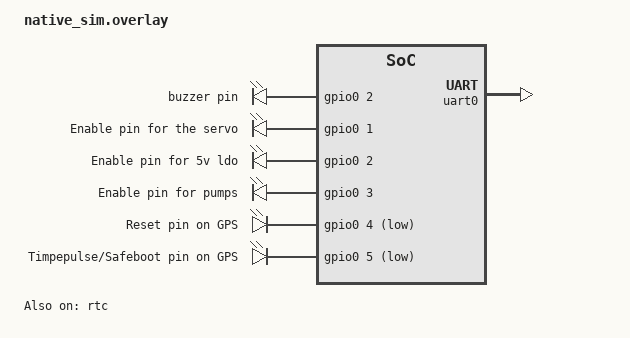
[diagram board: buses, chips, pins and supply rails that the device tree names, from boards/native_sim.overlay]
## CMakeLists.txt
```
cmake_minimum_required(VERSION 3.20.0)

find_package(Zephyr REQUIRED HINTS $ENV{ZEPHYR_BASE})
project(sample_logging LANGUAGES C CXX)

FILE(GLOB app_sources src/*.cpp src/*.c)

target_compile_options(app PRIVATE -Wall -Werror -Wextra -Wno-unused-parameter -Wno-unused-function -Wno-ignored-qualifiers)
target_sources(app PRIVATE ${app_sources})
```

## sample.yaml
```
sample:
  description: openrocket-sensors
  name: openrocket-sensors
common:
  build_only: true
  platform_allow:
    - native_sim
tests:
  samples.openrocket_sensors.default: {}
```

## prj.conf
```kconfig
# CPP
CONFIG_CPP=y
CONFIG_REQUIRES_FULL_LIBCPP=y
CONFIG_STD_CPP20=y

CONFIG_F_CORE=y
CONFIG_F_CORE_SENSOR=y

CONFIG_SENSOR=y
CONFIG_SHELL=y
CONFIG_SENSOR_SHELL=y

CONFIG_SERIAL=y
CONFIG_CBPRINTF_FP_SUPPORT=y
CONFIG_CONSOLE=y

CONFIG_LOG=y
CONFIG_LOG_MODE_IMMEDIATE=y

CONFIG_OPENROCKET_SENSORS=y

CONFIG_OPENROCKET_NOISE=y
CONFIG_OPENROCKET_NOISE_SEED=0
CONFIG_TEST_RANDOM_GENERATOR=y
CONFIG_XOSHIRO_RANDOM_GENERATOR=y
CONFIG_TIMER_RANDOM_GENERATOR=y

CONFIG_OPENROCKET_DATA_FILE="data/flight.csv"
CONFIG_OPENROCKET_MS_BEFORE_LAUNCH=1000
CONFIG_OPENROCKET_SCALAR_TYPE_DOUBLE=y
CONFIG_OPENROCKET_EVENT_LOG=y

CONFIG_OPENROCKET_IMU=y
CONFIG_OPENROCKET_BAROMETER=y
CONFIG_OPENROCKET_MAGNETOMETER=y
CONFIG_GNSS=y
CONFIG_GNSS_DUMP_TO_LOG=y
CONFIG_RTC=y

CONFIG_OPENROCKET_GNSS=y
```

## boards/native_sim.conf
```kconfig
CONFIG_SYS_CLOCK_TICKS_PER_SEC=10000
CONFIG_ASAN=y
```

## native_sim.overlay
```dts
/ {
    chosen {
        zephyr,console = &uart0;
        zephyr,shell-uart = &uart0;

        storage = &flash0;
        logfs = &lfs1;
    };

    zephyr,user {
    };
    aliases {
    };

    leds: leds {
        compatible = "gpio-leds";
        redled: redled{
            gpios = <&gpio0 0 GPIO_ACTIVE_HIGH>;
        };
    };

    imu: imu {
        compatible = "openrocket,imu";
        vertical-axis = "Z";
        vertical-axis-invert;
        lateral-axis = "X";
        lag-time-us = <1000>;
        sampling-period-us = <10>;

        roll-axis = "Z";
        pitch-axis = "Y";
        yaw-axis = "X";
    };

    fstab {
        compatible = "zephyr,fstab";
        lfs1: lfs1 {
            compatible = "zephyr,fstab,littlefs";
            mount-point = "/lfs";
            partition = <&external_storage_partition>;
            automount;

            // the binding reccomends defaults for these
            read-size = <16>;
            prog-size = <16>;
            cache-size = <64>; // may need to grow for optimization
            lookahead-size = <32>;
            block-cycles = <(90 * 1000)>;
            // the datasheet gives 100K P-E cycles
            // NOTE: this seems to default to 512 for the mounted filesystem
            // anyway
        };
    };

};

&uart0 {
    status = "okay";
};



&flashcontroller0 {
    status = "okay";
    compatible = "zephyr,sim-flash";
    reg = <0x00000000 DT_SIZE_M(513)>;

    #address-cells = <1>;
    #size-cells = <1>;
    erase-value = <0xff>;

    flash0: flash@0 {
        status = "okay";
        compatible = "soc-nv-flash";
        erase-block-size = <4096>;
        write-block-size = <1>;
        reg = <0x00000000 DT_SIZE_M(513)>; // builtin stuff + external flash simulation

        partitions {
            compatible = "fixed-partitions";
            #address-cells = <1>;
            #size-cells = <1>;

            boot_partition: partition@0 {
                label = "mcuboot";
                reg = <0x00000000 0x0000C000>;
            };
            slot0_partition: partition@c000 {
                label = "image-0";
                reg = <0x0000C000 0x00069000>;
            };
            slot1_partition: partition@75000 {
                label = "image-1";
                reg = <0x00075000 0x00069000>;
            };
            scratch_partition: partition@de000 {
                label = "image-scratch";
                reg = <0x000de000 0x0001e000>;
            };
            external_storage_partition: partition@fc000 {
                label = "storage";
                reg = <0x000fc000 DT_SIZE_M(512)>;
            };
        };
    };
};
```

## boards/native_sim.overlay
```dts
/ {
    chosen {
        zephyr,console = &uart0;
        zephyr,shell-uart = &uart0;
    };
    aliases {
        imu = &imu;
        barom = &barom;
        buzz = &buzzer;
		ldo5v = &ldo5v_enable;
		gnss = &gnss;
    }

    buzzer_pins: buzzer_pins{
		compatible = "gpio-leds";
		buzzer: buzzer{
			gpios = <&gpio0 2 GPIO_ACTIVE_HIGH>;
			label = "buzzer pin";
		};
	};

    
    enables: enables{
		compatible = "gpio-leds";
		// Servo power only, enable ldo5v for control
		servo_enable: servo-enable{
			gpios = <&gpio0 1 GPIO_ACTIVE_HIGH>;
			label = "Enable pin for the servo";
		};
		// Buzzer power, Servo signal power
		ldo5v_enable: ldo5v-enable{
			gpios = <&gpio0 2 GPIO_ACTIVE_HIGH>;
			label = "Enable pin for 5v ldo";
		};
		pump_enable: pump-enable{
			gpios = <&gpio0 3 GPIO_ACTIVE_HIGH>;
			label = "Enable pin for pumps";
		};

		gps_reset: gps-reset{
			gpios = <&gpio0 4 GPIO_ACTIVE_LOW>;
			label = "Reset pin on GPS";
		};
		gps_timepulse: gps-timepulse{
			gpios = <&gpio0 5 GPIO_ACTIVE_LOW>;
			label = "Timpepulse/Safeboot pin on GPS";
		};
		
	};



    imu: imu {
        status = "okay";
        compatible = "openrocket,imu";
        vertical-axis = "OPENROCKET_AXIS_Z";
        vertical-axis-invert;
        lateral-axis = "OPENROCKET_AXIS_X";
        lag-time-us = <1000>;
        sampling-period-us = <10>;

        roll-axis = "OPENROCKET_AXIS_Z";
        pitch-axis = "OPENROCKET_AXIS_Y";
        yaw-axis = "OPENROCKET_AXIS_X";

        accel-noise = <500>;
        gyro-noise = <200>;
    };

    barom: barom {
        status = "okay";
        compatible = "openrocket,barometer";
        lag-time-us = <1000>;
        sampling-period-us = <10>;
        temp-noise = <100>; // millicelsius
        pressure-noise = <100>; // pascals
    };

    gnss: gnss{
        status = "okay";
        compatible = "openrocket,gnss";
        lag-time-us = <1000>;
        sampling-period-us = <(5*1000*1000)>;
        rtc = <&rtc>;
    };

    magn: magn{
        status = "okay";
        compatible = "openrocket,magnetometer";
        lag-time-us = <1000>;
        sampling-period-us = <(5*1000*1000)>;
        noise = <1000>;
    };

    shnt: shnt{
        status = "okay";
        compatible = "sim,simshunt";
        simulated-voltage = <5000>;   // milliVolts
        simulated-current = <100>;    // milliAmps
    };
};
&rtc {
    status = "okay";
};
&uart0 {
    status = "okay";
};
```

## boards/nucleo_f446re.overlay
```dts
/ {
    chosen {
        zephyr,console = &usart2;
    };
    imu: imu {
        compatible = "openrocket,imu";
        vertical-axis = "OPENROCKET_AXIS_Z";
        vertical-axis-invert;
        lateral-axis = "OPENROCKET_AXIS_X";
        lag-time-us = <1000>;
        sampling-period-us = <10>;

        roll-axis = "OPENROCKET_AXIS_Z";
        pitch-axis = "OPENROCKET_AXIS_Y";
        yaw-axis = "OPENROCKET_AXIS_X";
    };

    barom: barom {
        status = "okay";
        compatible = "openrocket,barometer";
        lag-time-us = <1000>;
        sampling-period-us = <10>;

    };
    gnss: gnss{
        status = "okay";
        compatible = "openrocket,gnss";
        lag-time-us = <1000>;
        sampling-period-us = <(5*1000*1000)>;
        rtc = <&rtc>;
    };
};
```

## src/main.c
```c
#include <zephyr/device.h>
#include <zephyr/devicetree.h>
#include <zephyr/drivers/sensor.h>
#include <zephyr/kernel.h>

int main() {
    const struct device *imu_dev = DEVICE_DT_GET_ONE(openrocket_imu);
    const struct device *barom_dev = DEVICE_DT_GET_ONE(openrocket_barometer);

    if (!device_is_ready(imu_dev)) {
        printk("IMU is not ready\n");
        return -ENODEV;
    }
    if (!device_is_ready(barom_dev)) {
        printk("Barometer is not ready\n");
        return -ENODEV;
    }
    while (1) {
        // sensor_sample_fetch(imu_dev);
        // struct sensor_value vals[3];
        // sensor_channel_get(imu_dev, SENSOR_CHAN_ACCEL_XYZ, vals);
        // double x = sensor_value_to_double(&vals[0]);
        // double y = sensor_value_to_double(&vals[1]);
        // double z = sensor_value_to_double(&vals[2]);
        //
        // sensor_channel_get(imu_dev, SENSOR_CHAN_GYRO_XYZ, vals);
        // double rx = sensor_value_to_double(&vals[0]);
        // double ry = sensor_value_to_double(&vals[1]);
        // double rz = sensor_value_to_double(&vals[2]);

        printk("accel: (%.2f, %.2f, %.2f) - gyro: (%.2f, %.2f, %.2f)\n", x, y, z, rx, ry, rz);

        sensor_sample_fetch(barom_dev);
        struct sensor_value val;
        sensor_channel_get(barom_dev, SENSOR_CHAN_AMBIENT_TEMP, &val);
        double temp = sensor_value_to_double(&val);
        sensor_channel_get(barom_dev, SENSOR_CHAN_PRESS, &val);
        double press = sensor_value_to_double(&val);
        printk("temp: %.2f - press: %.2f\n", temp, press);
        k_msleep(1000);
    }
    return 0;
}
```

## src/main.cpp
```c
// F-Core Includes
#include <f_core/device/sensor/c_accelerometer.h>
#include <f_core/device/sensor/c_barometer.h>
#include <f_core/device/sensor/c_gyroscope.h>
#include <f_core/device/sensor/c_magnetometer.h>
#include <f_core/device/sensor/c_shunt.h>

// Zephyr Includes
#include <zephyr/device.h>
#include <zephyr/devicetree.h>
#include <zephyr/drivers/sensor.h>
#include <zephyr/kernel.h>

int main() {
    CAccelerometer imu_accelerometer(*DEVICE_DT_GET_ONE(openrocket_imu));
    CGyroscope imu_gyroscope(*DEVICE_DT_GET_ONE(openrocket_imu));
    CBarometer barometer(*DEVICE_DT_GET_ONE(openrocket_barometer));
    CMagnetometer magnetometer(*DEVICE_DT_GET_ONE(openrocket_magnetometer));
    CShunt shunt(*DEVICE_DT_GET_ONE(sim_simshunt));

    CSensorDevice *sensors[] = {&imu_accelerometer, &imu_gyroscope, &barometer, &magnetometer, &shunt};

    while (1) {
        for (auto sensor : sensors) {
            sensor->UpdateSensorValue();
        }

        double x = imu_accelerometer.GetSensorValueDouble(SENSOR_CHAN_ACCEL_X);
        double y = imu_accelerometer.GetSensorValueDouble(SENSOR_CHAN_ACCEL_Y);
        double z = imu_accelerometer.GetSensorValueDouble(SENSOR_CHAN_ACCEL_Z);

        double rx = imu_gyroscope.GetSensorValueDouble(SENSOR_CHAN_GYRO_X);
        double ry = imu_gyroscope.GetSensorValueDouble(SENSOR_CHAN_GYRO_Y);
        double rz = imu_gyroscope.GetSensorValueDouble(SENSOR_CHAN_GYRO_Z);

        double press = barometer.GetSensorValueDouble(SENSOR_CHAN_PRESS);
        double temp = barometer.GetSensorValueDouble(SENSOR_CHAN_AMBIENT_TEMP);

        double mx = magnetometer.GetSensorValueDouble(SENSOR_CHAN_MAGN_X);
        double my = magnetometer.GetSensorValueDouble(SENSOR_CHAN_MAGN_Y);
        double mz = magnetometer.GetSensorValueDouble(SENSOR_CHAN_MAGN_Z);

        double volts = shunt.GetSensorValueDouble(SENSOR_CHAN_VOLTAGE);
        double amps = shunt.GetSensorValueDouble(SENSOR_CHAN_CURRENT);

        printk("accel: (%.2f, %.2f, %.2f) - gyro: (%.2f, %.2f, %.2f) - magn(%.2f, %.2f, %.2f)\n", x, y, z, rx, ry, rz,
               mx, my, mz);
        printk("temp: %.2f - press: %.2f\n", temp, press);
        printk("amps: %.2f - volts: %.2f\n", amps, volts);
        k_msleep(1000);
    }

    return 0;
}
```
